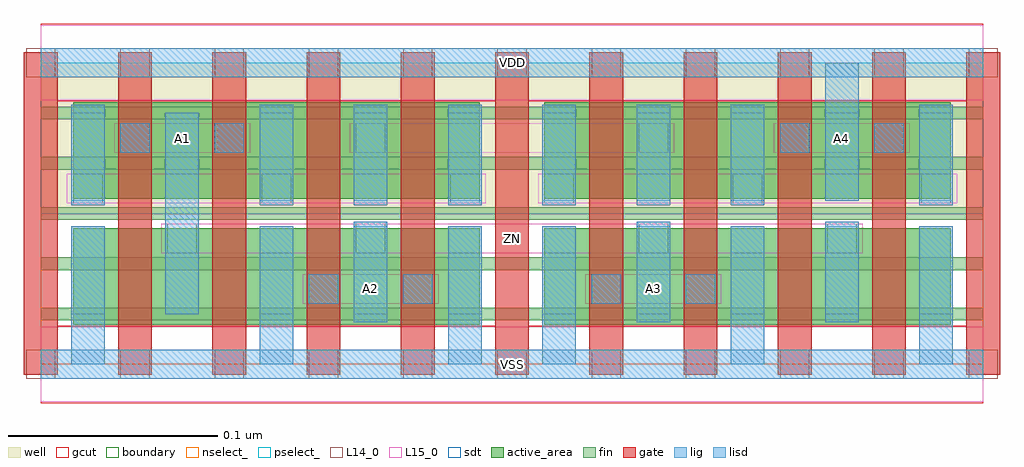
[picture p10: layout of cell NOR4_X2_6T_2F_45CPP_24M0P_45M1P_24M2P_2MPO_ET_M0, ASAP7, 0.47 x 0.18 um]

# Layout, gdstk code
import gdstk
lib = gdstk.Library(unit=1e-6, precision=2.5e-10)
def R(c, l, rs):  # rectangles x0, y0, x1, y1
    for r in rs: c.add(gdstk.rectangle(r[:2], r[2:], *l))
def A(c, l, x, y, w, h, nx, ny, dx, dy):  # array of equal rectangles
    R(c, l, [(x+i*dx, y+j*dy, x+i*dx+w, y+j*dy+h) for i in range(nx) for j in range(ny)])
well = (1, 0)
fin = (2, 0)
gate = (7, 0)
gcut = (10, 0)
active_area = (11, 0)
nselect_ = (12, 0)
pselect_ = (13, 0)
L14_0 = (14, 0)
L15_0 = (15, 0)
lig = (16, 0)
lisd = (17, 0)
sdt = (88, 0)
boundary = (100, 0)

nor4_x2_6t_2f_45cpp_24m0 = lib.new_cell('NOR4_X2_6T_2F_45CPP_24M0P_45M1P_24M2P_2MPO_ET_M0')
R(nor4_x2_6t_2f_45cpp_24m0, well, [(0,0.072,0.45,0.144)])
A(nor4_x2_6t_2f_45cpp_24m0, fin, 0, 0.021, 0.45, 0.006, 1, 5, 0, 0.024)
A(nor4_x2_6t_2f_45cpp_24m0, gate, -0.008, -0.005, 0.016, 0.154, 11, 1, 0.045, 0)
A(nor4_x2_6t_2f_45cpp_24m0, gcut, -0.008, -0.005, 0.016, 0.154, 3, 1, 0.225, 0)
R(nor4_x2_6t_2f_45cpp_24m0, gcut, [(0,-0.0185,0.45,0.0185), (0,0.1255,0.45,0.1625)])
A(nor4_x2_6t_2f_45cpp_24m0, active_area, 0.0155, 0.019, 0.059, 0.046, 4, 2, 0.045, 0.06)
A(nor4_x2_6t_2f_45cpp_24m0, active_area, 0.2405, 0.019, 0.059, 0.046, 4, 2, 0.045, 0.06)
R(nor4_x2_6t_2f_45cpp_24m0, nselect_, [(0,0,0.45,0.072)])
R(nor4_x2_6t_2f_45cpp_24m0, pselect_, [(0,0.072,0.45,0.144)])
A(nor4_x2_6t_2f_45cpp_24m0, L14_0, -0.007, -0.007, 0.014, 0.014, 11, 2, 0.045, 0.144)
A(nor4_x2_6t_2f_45cpp_24m0, L14_0, 0.0155, 0.077, 0.014, 0.014, 3, 1, 0.09, 0)
A(nor4_x2_6t_2f_45cpp_24m0, L14_0, 0.2405, 0.077, 0.014, 0.014, 3, 1, 0.09, 0)
R(nor4_x2_6t_2f_45cpp_24m0, L14_0, [(0.128,0.029,0.142,0.043), (0.173,0.029,0.187,0.043), (0.263,0.029,0.277,0.043), (0.308,0.029,0.322,0.043), (0.0605,0.053,0.0745,0.067), (0.1505,0.053,0.1645,0.067), (0.2855,0.053,0.2995,0.067), (0.3755,0.053,0.3895,0.067), (0.038,0.101,0.052,0.115), (0.083,0.101,0.097,0.115), (0.1505,0.101,0.1645,0.115), (0.2855,0.101,0.2995,0.115), (0.353,0.101,0.367,0.115), (0.398,0.101,0.412,0.115)])
R(nor4_x2_6t_2f_45cpp_24m0, L15_0, [(0,-0.018,0.45,0.018), (0.125,0.029,0.19,0.043), (0.26,0.029,0.325,0.043), (0.0575,0.053,0.3925,0.067), (0.0125,0.077,0.2125,0.091), (0.2375,0.077,0.4375,0.091), (0.035,0.101,0.1,0.115), (0.1475,0.101,0.3025,0.115), (0.35,0.101,0.415,0.115), (0,0.126,0.45,0.162)])
R(nor4_x2_6t_2f_45cpp_24m0, lig, [(0,-0.007,0.45,0.007), (0.128,0.029,0.142,0.043), (0.173,0.029,0.187,0.043), (0.263,0.029,0.277,0.043), (0.308,0.029,0.322,0.043), (0.038,0.101,0.052,0.115), (0.083,0.101,0.097,0.115), (0.353,0.101,0.367,0.115), (0.398,0.101,0.412,0.115), (0,0.137,0.45,0.151)])
A(nor4_x2_6t_2f_45cpp_24m0, lisd, 0.0145, 0, 0.016, 0.066, 3, 1, 0.09, 0)
A(nor4_x2_6t_2f_45cpp_24m0, lisd, 0.2395, 0, 0.016, 0.066, 3, 1, 0.09, 0)
A(nor4_x2_6t_2f_45cpp_24m0, lisd, 0.1045, 0.076, 0.016, 0.048, 6, 1, 0.045, 0)
R(nor4_x2_6t_2f_45cpp_24m0, lisd, [(0.1495,0.02,0.1655,0.068), (0.2845,0.02,0.3005,0.068), (0.3745,0.02,0.3905,0.068), (0.0595,0.024,0.0755,0.12), (0.0145,0.076,0.0305,0.124), (0.4195,0.076,0.4355,0.124), (0.3745,0.078,0.3905,0.144)])
A(nor4_x2_6t_2f_45cpp_24m0, sdt, 0.1045, 0.024, 0.016, 0.042, 8, 2, 0.045, 0.054)
R(nor4_x2_6t_2f_45cpp_24m0, sdt, [(0.0145,0.024,0.0305,0.066), (0.0595,0.024,0.0755,0.12), (0.0145,0.078,0.0305,0.12)])
R(nor4_x2_6t_2f_45cpp_24m0, boundary, [(0,0,0.45,0.144)])
nor4_x2_6t_2f_45cpp_24m0.add(gdstk.Label('A1', (0.0675,0.108), layer=15, texttype=251))
nor4_x2_6t_2f_45cpp_24m0.add(gdstk.Label('A4', (0.3825,0.108), layer=15, texttype=251))
nor4_x2_6t_2f_45cpp_24m0.add(gdstk.Label('ZN', (0.225,0.06), layer=15, texttype=251))
nor4_x2_6t_2f_45cpp_24m0.add(gdstk.Label('A2', (0.1575,0.036), layer=15, texttype=251))
nor4_x2_6t_2f_45cpp_24m0.add(gdstk.Label('A3', (0.2925,0.036), layer=15, texttype=251))
nor4_x2_6t_2f_45cpp_24m0.add(gdstk.Label('VDD', (0.225,0.144), layer=15, texttype=251))
nor4_x2_6t_2f_45cpp_24m0.add(gdstk.Label('VSS', (0.225,0), layer=15, texttype=251))
nor4_x2_6t_2f_45cpp_24m0.add(gdstk.Label('VDD', (0.225,0.144), layer=1, texttype=251))
nor4_x2_6t_2f_45cpp_24m0.add(gdstk.Label('VSS', (0.225,0), layer=3, texttype=251))

lib.write_gds('NOR4_X2_6T_2F_45CPP_24M0P_45M1P_24M2P_2MPO_ET_M0.gds')
